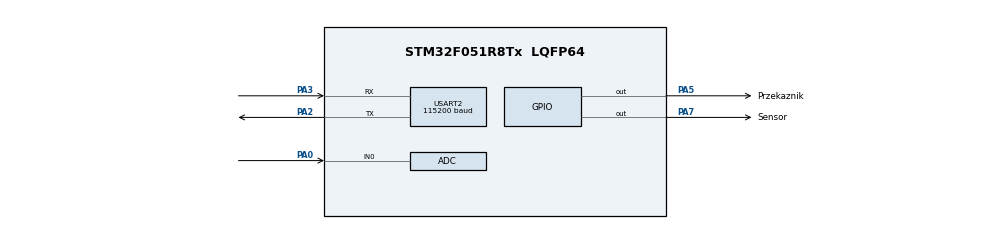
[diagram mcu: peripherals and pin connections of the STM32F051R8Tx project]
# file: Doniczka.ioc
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ADC.ContinuousConvMode=ENABLE
Mcu.Family=STM32F0
Mcu.Name=STM32F051R8Tx
Mcu.Package=LQFP64
NVIC.USART2_IRQn=true\:0\:0\:false\:false\:true\:true\:true\:true
PA0.Mode=IN0
PA0.Signal=ADC_IN0
PA2.Mode=Asynchronous
PA2.Signal=USART2_TX
PA3.Mode=Asynchronous
PA3.Signal=USART2_RX
PA5.GPIO_Label=Przekaznik
PA5.Signal=GPIO_Output
PA7.GPIO_Label=Sensor
PA7.Signal=GPIO_Output
ProjectManager.HeapSize=0x200
ProjectManager.StackSize=0x400
ProjectManager.TargetToolchain=STM32CubeIDE
USART2.BaudRate=115200
USART2.VirtualMode-Asynchronous=VM_ASYNC
board=custom

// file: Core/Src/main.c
/* USER CODE BEGIN Header */
/**
  ******************************************************************************
  * @file           : main.c
  * @brief          : Main program body
  ******************************************************************************
  * @attention
  *
  * Copyright (c) 2026 STMicroelectronics.
  * All rights reserved.
  *
  * This software is licensed under terms that can be found in the LICENSE file
  * in the root directory of this software component.
  * If no LICENSE file comes with this software, it is provided AS-IS.
  *
  ******************************************************************************
  */
/* USER CODE END Header */
#include "main.h"

/* USER CODE BEGIN Includes */
#include <stdio.h>
/* USER CODE END Includes */

/* USER CODE BEGIN PD */
// Kalibracja czujnika wilgotności gleby
#define SOIL_ADC_DRY   3700  // 0% wilgotności (sucho)
#define SOIL_ADC_WET   2200  // 100% wilgotności (mokro)

#define SOIL_MOISTURE_THRESHOLD 30.0f  // próg rozpoczęcia podlewania (30%)
#define WATERING_STOP_THRESHOLD 80.0f  // próg zakończenia podlewania (80%)

volatile uint8_t ButtonPressed = 0;
uint8_t rxData;
/* USER CODE END PD */

ADC_HandleTypeDef hadc;

UART_HandleTypeDef huart2;

/* USER CODE BEGIN PV */
uint16_t Pomiar;//Do tej zmiennej są zapisywane pomiary z ADC
float PomiarProc;
/* USER CODE END PV */

void SystemClock_Config(void);
static void MX_GPIO_Init(void);
static void MX_USART2_UART_Init(void);
static void MX_ADC_Init(void);

/* USER CODE BEGIN 0 */
//To dajesz by pritnf po UART działał. I ustawiaj w terminalu 115200 jak coś
int __io_putchar(int ch)
{
    HAL_UART_Transmit(&huart2, (uint8_t*)&ch, 1, HAL_MAX_DELAY);
    return 1;
}

void HAL_UART_RxCpltCallback(UART_HandleTypeDef *huart)
{
    if (huart->Instance == USART2)
    {
    	printf("Odebrano polecenie uzytkownika\r\n");
        if (rxData == '1')   // GUI wysyła znak '1'
        {
            ButtonPressed = 1;
        }

        HAL_UART_Receive_IT(&huart2, &rxData, 1);
    }
}
/* USER CODE END 0 */

int main(void)
{

  /* MCU Configuration--------------------------------------------------------*/

  /* Reset of all peripherals, Initializes the Flash interface and the Systick. */
  HAL_Init();

  /* Configure the system clock */
  SystemClock_Config();

  /* Initialize all configured peripherals */
  MX_GPIO_Init();
  MX_USART2_UART_Init();
  MX_ADC_Init();
  /* USER CODE BEGIN 2 */
  HAL_ADC_Start(&hadc);
  HAL_UART_Receive_IT(&huart2, &rxData, 1);
  /* USER CODE END 2 */

  /* Infinite loop */
  /* USER CODE BEGIN WHILE */
  while (1)
  {
	  // --- Pomiar wilgotności gleby ---
	  printf("Pomiar w toku\r\n");
	  HAL_GPIO_WritePin(Sensor_GPIO_Port, Sensor_Pin, GPIO_PIN_SET);//Czujnik zasilony jedynie na czas pomiaru
	  HAL_Delay(20); //Czas na stabilizacje czujnika
	  HAL_ADC_PollForConversion(&hadc,1000);
	  Pomiar = HAL_ADC_GetValue(&hadc);
	  PomiarProc = (float)(SOIL_ADC_DRY - Pomiar) * 100.0f / (SOIL_ADC_DRY - SOIL_ADC_WET); // Przeliczenie wartości ADC na procent wilgotności (skalowanie liniowe na podstawie kalibracji)
	  HAL_GPIO_WritePin(Sensor_GPIO_Port, Sensor_Pin, GPIO_PIN_RESET);//Wyłączanie czujnika po pomiarach, oszczędzość energii

	  // --- Logika podlewania ---
	  // Jeśli wilgotność spadnie poniżej 30%, lub użytkownik wyśle polecenie przez GUI to uruchamiana jest pompka
	  printf("Pomiar wykonany\r\n");
	  if (PomiarProc < SOIL_MOISTURE_THRESHOLD || ButtonPressed == 1)
	  {
		  printf("Start podlewania\r\n");

		      HAL_GPIO_WritePin(Przekaznik_GPIO_Port, Przekaznik_Pin, GPIO_PIN_RESET);

		      do
		      {
		          // --- Nowy pomiar wykonywany w trakcie podlewania ---
		          HAL_GPIO_WritePin(Sensor_GPIO_Port, Sensor_Pin, GPIO_PIN_SET);
		          HAL_Delay(20);

		          HAL_ADC_PollForConversion(&hadc,1000);
		          Pomiar = HAL_ADC_GetValue(&hadc);
		          PomiarProc = (float)(SOIL_ADC_DRY - Pomiar) * 100.0f / (SOIL_ADC_DRY - SOIL_ADC_WET);

		          HAL_GPIO_WritePin(Sensor_GPIO_Port, Sensor_Pin, GPIO_PIN_RESET);
		          printf("Podlewanie.Wilgotnosc na poziomie: %.1f%%\r\n", PomiarProc);
		          HAL_Delay(500);

		      } while (PomiarProc < WATERING_STOP_THRESHOLD);

		      HAL_GPIO_WritePin(Przekaznik_GPIO_Port, Przekaznik_Pin, GPIO_PIN_SET);
		      ButtonPressed = 0;

	  }else{
		  printf("Wilgotnosc na poziomie: %.1f%%. Jest podlane.\r\n", PomiarProc);
		  HAL_GPIO_WritePin(Przekaznik_GPIO_Port, Przekaznik_Pin, GPIO_PIN_SET);
	  }
	  HAL_Delay(1000);
    /* USER CODE END WHILE */

  }
}

void SystemClock_Config(void)
{
  RCC_OscInitTypeDef RCC_OscInitStruct = {0};
  RCC_ClkInitTypeDef RCC_ClkInitStruct = {0};

  /** Initializes the RCC Oscillators according to the specified parameters
  * in the RCC_OscInitTypeDef structure.
  */
  RCC_OscInitStruct.OscillatorType = RCC_OSCILLATORTYPE_HSI|RCC_OSCILLATORTYPE_HSI14;
  RCC_OscInitStruct.HSIState = RCC_HSI_ON;
  RCC_OscInitStruct.HSI14State = RCC_HSI14_ON;
  RCC_OscInitStruct.HSICalibrationValue = RCC_HSICALIBRATION_DEFAULT;
  RCC_OscInitStruct.HSI14CalibrationValue = 16;
  RCC_OscInitStruct.PLL.PLLState = RCC_PLL_NONE;
  if (HAL_RCC_OscConfig(&RCC_OscInitStruct) != HAL_OK)
  {
    Error_Handler();
  }

  /** Initializes the CPU, AHB and APB buses clocks
  */
  RCC_ClkInitStruct.ClockType = RCC_CLOCKTYPE_HCLK|RCC_CLOCKTYPE_SYSCLK
                              |RCC_CLOCKTYPE_PCLK1;
  RCC_ClkInitStruct.SYSCLKSource = RCC_SYSCLKSOURCE_HSI;
  RCC_ClkInitStruct.AHBCLKDivider = RCC_SYSCLK_DIV1;
  RCC_ClkInitStruct.APB1CLKDivider = RCC_HCLK_DIV1;

  if (HAL_RCC_ClockConfig(&RCC_ClkInitStruct, FLASH_LATENCY_0) != HAL_OK)
  {
    Error_Handler();
  }
}

static void MX_ADC_Init(void)
{

  ADC_ChannelConfTypeDef sConfig = {0};

  /** Configure the global features of the ADC (Clock, Resolution, Data Alignment and number of conversion)
  */
  hadc.Instance = ADC1;
  hadc.Init.ClockPrescaler = ADC_CLOCK_ASYNC_DIV1;
  hadc.Init.Resolution = ADC_RESOLUTION_12B;
  hadc.Init.DataAlign = ADC_DATAALIGN_RIGHT;
  hadc.Init.ScanConvMode = ADC_SCAN_DIRECTION_FORWARD;
  hadc.Init.EOCSelection = ADC_EOC_SINGLE_CONV;
  hadc.Init.LowPowerAutoWait = DISABLE;
  hadc.Init.LowPowerAutoPowerOff = DISABLE;
  hadc.Init.ContinuousConvMode = ENABLE;
  hadc.Init.DiscontinuousConvMode = DISABLE;
  hadc.Init.ExternalTrigConv = ADC_SOFTWARE_START;
  hadc.Init.ExternalTrigConvEdge = ADC_EXTERNALTRIGCONVEDGE_NONE;
  hadc.Init.DMAContinuousRequests = DISABLE;
  hadc.Init.Overrun = ADC_OVR_DATA_PRESERVED;
  if (HAL_ADC_Init(&hadc) != HAL_OK)
  {
    Error_Handler();
  }

  /** Configure for the selected ADC regular channel to be converted.
  */
  sConfig.Channel = ADC_CHANNEL_0;
  sConfig.Rank = ADC_RANK_CHANNEL_NUMBER;
  sConfig.SamplingTime = ADC_SAMPLETIME_1CYCLE_5;
  if (HAL_ADC_ConfigChannel(&hadc, &sConfig) != HAL_OK)
  {
    Error_Handler();
  }

}

static void MX_USART2_UART_Init(void)
{

  huart2.Instance = USART2;
  huart2.Init.BaudRate = 115200;
  huart2.Init.WordLength = UART_WORDLENGTH_8B;
  huart2.Init.StopBits = UART_STOPBITS_1;
  huart2.Init.Parity = UART_PARITY_NONE;
  huart2.Init.Mode = UART_MODE_TX_RX;
  huart2.Init.HwFlowCtl = UART_HWCONTROL_NONE;
  huart2.Init.OverSampling = UART_OVERSAMPLING_16;
  huart2.Init.OneBitSampling = UART_ONE_BIT_SAMPLE_DISABLE;
  huart2.AdvancedInit.AdvFeatureInit = UART_ADVFEATURE_NO_INIT;
  if (HAL_UART_Init(&huart2) != HAL_OK)
  {
    Error_Handler();
  }

}

static void MX_GPIO_Init(void)
{
  GPIO_InitTypeDef GPIO_InitStruct = {0};

  /* GPIO Ports Clock Enable */
  __HAL_RCC_GPIOA_CLK_ENABLE();

  /*Configure GPIO pin Output Level */
  HAL_GPIO_WritePin(GPIOA, Przekaznik_Pin|Sensor_Pin, GPIO_PIN_RESET);

  /*Configure GPIO pins : Przekaznik_Pin Sensor_Pin */
  GPIO_InitStruct.Pin = Przekaznik_Pin|Sensor_Pin;
  GPIO_InitStruct.Mode = GPIO_MODE_OUTPUT_PP;
  GPIO_InitStruct.Pull = GPIO_NOPULL;
  GPIO_InitStruct.Speed = GPIO_SPEED_FREQ_LOW;
  HAL_GPIO_Init(GPIOA, &GPIO_InitStruct);

}

void Error_Handler(void)
{
  __disable_irq();
  while (1)
  {
  }
}
